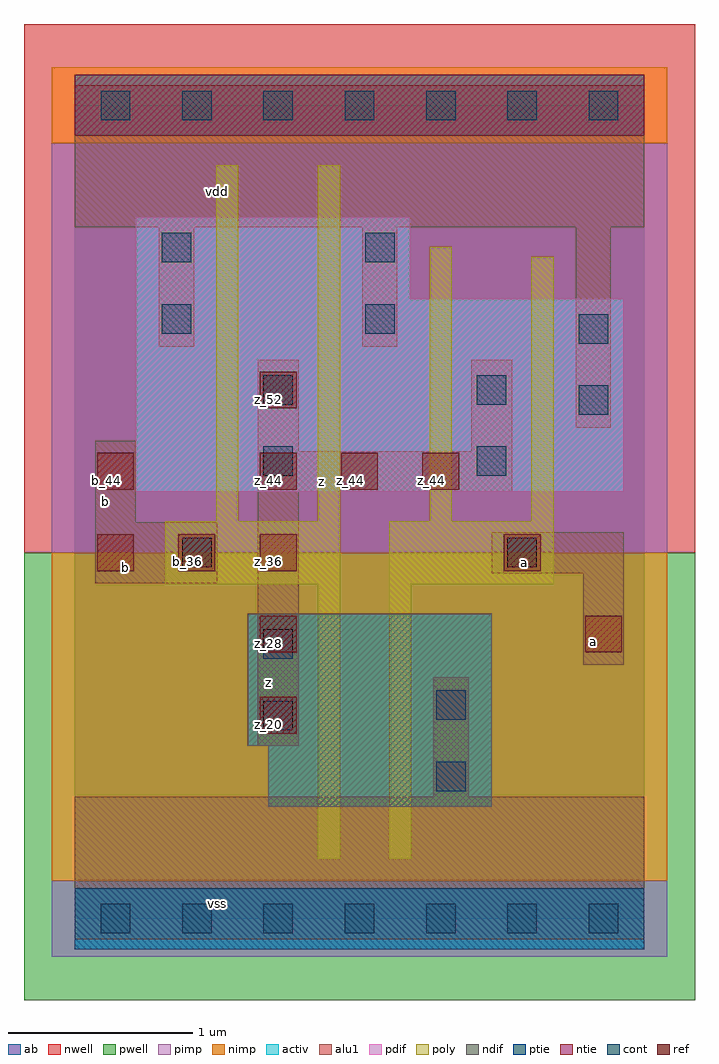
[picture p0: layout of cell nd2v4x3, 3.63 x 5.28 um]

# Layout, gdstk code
import gdstk
lib = gdstk.Library(unit=1e-6, precision=2.5e-09)
def R(c, l, rs):  # rectangles x0, y0, x1, y1
    for r in rs: c.add(gdstk.rectangle(r[:2], r[2:], *l))
def A(c, l, x, y, w, h, nx, ny, dx, dy):  # array of equal rectangles
    R(c, l, [(x+i*dx, y+j*dy, x+i*dx+w, y+j*dy+h) for i in range(nx) for j in range(ny)])
ndif = (3, 0)
pdif = (4, 0)
ntie = (5, 0)
ptie = (6, 0)
ref = (24, 0)
cont = (25, 0)
pwell = (41, 0)
nwell = (42, 0)
activ = (43, 0)
pimp = (44, 0)
nimp = (45, 0)
poly = (46, 0)
alu1 = (49, 0)
ab = (63, 0)

nd2v4x3 = lib.new_cell('nd2v4x3')
R(nd2v4x3, ndif, [(1.045,0.605,2.255,0.935), (0.935,0.935,2.255,1.65)])
R(nd2v4x3, pdif, [(0.33,2.31,2.97,3.355), (0.33,3.355,1.815,3.795)])
R(nd2v4x3, ntie, [(0,4.235,3.08,4.565)])
R(nd2v4x3, ptie, [(0,-0.165,3.08,0.165)])
A(nd2v4x3, ref, 0.12, 1.88, 0.2, 0.2, 3, 1, 0.44, 0)
A(nd2v4x3, ref, 1, 2.32, 0.2, 0.2, 3, 1, 0.44, 0)
R(nd2v4x3, ref, [(1,1,1.2,1.2), (1,1.44,1.2,1.64), (2.76,1.44,2.96,1.64), (2.32,1.88,2.52,2.08), (0.12,2.32,0.32,2.52), (1,2.76,1.2,2.96)])
A(nd2v4x3, cont, 0.14, -0.08, 0.16, 0.16, 7, 2, 0.44, 4.4)
R(nd2v4x3, cont, [(1.955,0.69,2.115,0.85), (1.02,1.02,1.18,1.18), (1.955,1.075,2.115,1.235), (1.02,1.405,1.18,1.565), (0.58,1.9,0.74,2.06), (2.34,1.9,2.5,2.06), (1.02,2.395,1.18,2.555), (2.175,2.395,2.335,2.555), (2.725,2.725,2.885,2.885), (1.02,2.78,1.18,2.94), (2.175,2.78,2.335,2.94), (2.725,3.11,2.885,3.27), (0.47,3.165,0.63,3.325), (1.57,3.165,1.73,3.325), (0.47,3.55,0.63,3.71), (1.57,3.55,1.73,3.71)])
R(nd2v4x3, pwell, [(-0.275,-0.44,3.355,1.98)])
R(nd2v4x3, nwell, [(-0.275,1.98,3.355,4.84)])
R(nd2v4x3, activ, [(0,-0.165,3.08,0.165), (1.045,0.605,2.255,0.935), (0.935,0.935,2.255,1.65), (0.33,2.31,2.97,3.355), (0.33,3.355,1.815,3.795), (0,4.235,3.08,4.565)])
R(nd2v4x3, pimp, [(-0.125,-0.205,3.205,0.205), (-0.125,1.98,3.205,4.195)])
R(nd2v4x3, nimp, [(-0.125,0.205,3.205,1.98), (-0.125,4.195,3.205,4.605)])
R(nd2v4x3, poly, [(1.315,0.325,1.435,1.81), (1.7,0.325,1.82,1.81), (0.49,1.81,1.435,2.15), (1.7,1.81,2.59,2.15), (0.765,2.15,0.885,4.075), (1.315,2.15,1.435,4.075), (1.92,2.15,2.04,3.635), (2.47,2.15,2.59,3.58)])
R(nd2v4x3, alu1, [(0,-0.11,3.08,0.66), (1.94,0.66,2.13,1.305), (0.99,0.935,1.21,2.31), (2.75,1.375,2.97,1.87), (0.11,1.815,0.77,2.145), (2.255,1.87,2.97,2.09), (0.11,2.145,0.33,2.585), (0.99,2.31,2.365,2.53), (0.99,2.53,1.21,3.025), (2.145,2.53,2.365,3.025), (2.71,2.655,2.9,3.74), (0.455,3.095,0.645,3.74), (1.555,3.095,1.745,3.74), (0,3.74,3.08,4.51)])
R(nd2v4x3, ab, [(0,0,3.08,4.4)])
nd2v4x3.add(gdstk.Label('vss', (0.77,0.0825), layer=49, texttype=0))
nd2v4x3.add(gdstk.Label('a', (2.805,1.4975), layer=49, texttype=0))
nd2v4x3.add(gdstk.Label('a', (2.4325,1.925), layer=49, texttype=0))
nd2v4x3.add(gdstk.Label('z', (1.045,1.2775), layer=49, texttype=0))
nd2v4x3.add(gdstk.Label('b', (0.275,1.8975), layer=49, texttype=0))
nd2v4x3.add(gdstk.Label('z', (1.3325,2.365), layer=49, texttype=0))
nd2v4x3.add(gdstk.Label('b', (0.165,2.255), layer=49, texttype=0))
nd2v4x3.add(gdstk.Label('vdd', (0.77,3.9325), layer=49, texttype=0))
nd2v4x3.add(gdstk.Label('z_52', (1.05,2.81), layer=24, texttype=0))
nd2v4x3.add(gdstk.Label('z_36', (1.05,1.93), layer=24, texttype=0))
nd2v4x3.add(gdstk.Label('z_28', (1.05,1.49), layer=24, texttype=0))
nd2v4x3.add(gdstk.Label('z_44', (1.05,2.37), layer=24, texttype=0))
nd2v4x3.add(gdstk.Label('b_36', (0.17,1.93), layer=24, texttype=0))
nd2v4x3.add(gdstk.Label('b_36', (0.61,1.93), layer=24, texttype=0))
nd2v4x3.add(gdstk.Label('b_44', (0.17,2.37), layer=24, texttype=0))
nd2v4x3.add(gdstk.Label('a_36', (2.37,1.93), layer=24, texttype=0))
nd2v4x3.add(gdstk.Label('a_28', (2.81,1.49), layer=24, texttype=0))
nd2v4x3.add(gdstk.Label('z_44', (1.49,2.37), layer=24, texttype=0))
nd2v4x3.add(gdstk.Label('z_44', (1.93,2.37), layer=24, texttype=0))
nd2v4x3.add(gdstk.Label('z_20', (1.05,1.05), layer=24, texttype=0))

lib.write_gds('nd2v4x3.gds')
